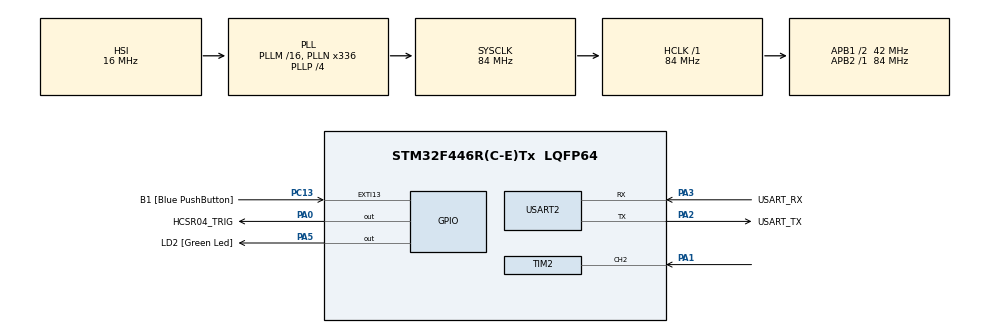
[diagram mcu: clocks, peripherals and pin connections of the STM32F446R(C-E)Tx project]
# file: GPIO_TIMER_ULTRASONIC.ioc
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Mcu.Family=STM32F4
Mcu.Name=STM32F446R(C-E)Tx
Mcu.Package=LQFP64
NVIC.PriorityGroup=NVIC_PRIORITYGROUP_0
NVIC.TIM2_IRQn=true\:0\:0\:false\:false\:true\:true\:true\:true
NVIC.USART2_IRQn=true\:0\:0\:false\:false\:true\:true\:true\:true
PA0-WKUP.GPIO_Label=HCSR04_TRIG
PA0-WKUP.GPIO_Speed=GPIO_SPEED_FREQ_VERY_HIGH
PA0-WKUP.Signal=GPIO_Output
PA1.Signal=S_TIM2_CH2
PA13.GPIO_Label=TMS
PA13.Mode=Serial_Wire
PA13.Signal=SYS_JTMS-SWDIO
PA14.GPIO_Label=TCK
PA14.Mode=Serial_Wire
PA14.Signal=SYS_JTCK-SWCLK
PA2.GPIO_Label=USART_TX
PA2.Mode=Asynchronous
PA2.Signal=USART2_TX
PA3.GPIO_Label=USART_RX
PA3.Mode=Asynchronous
PA3.Signal=USART2_RX
PA5.GPIO_Label=LD2 [Green Led]
PA5.Signal=GPIO_Output
PB3.GPIO_Label=SWO
PB3.Signal=SYS_JTDO-SWO
PC13.GPIO_Label=B1 [Blue PushButton]
PC13.GPIO_ModeDefaultEXTI=GPIO_MODE_IT_FALLING
PC13.Signal=GPXTI13
PC14-OSC32_IN.Mode=LSE-External-Oscillator
PC14-OSC32_IN.Signal=RCC_OSC32_IN
PC15-OSC32_OUT.Mode=LSE-External-Oscillator
PC15-OSC32_OUT.Signal=RCC_OSC32_OUT
PH0-OSC_IN.Mode=HSE-External-Oscillator
PH0-OSC_IN.Signal=RCC_OSC_IN
PH1-OSC_OUT.Mode=HSE-External-Oscillator
PH1-OSC_OUT.Signal=RCC_OSC_OUT
ProjectManager.HeapSize=0x200
ProjectManager.StackSize=0x400
ProjectManager.TargetToolchain=STM32CubeIDE
RCC.48MHZClocksFreq_Value=84000000
RCC.AHBFreq_Value=84000000
RCC.APB1CLKDivider=RCC_HCLK_DIV2
RCC.APB1Freq_Value=42000000
RCC.APB1TimFreq_Value=84000000
RCC.APB2Freq_Value=84000000
RCC.APB2TimFreq_Value=84000000
RCC.CortexFreq_Value=84000000
RCC.FLatency-AdvancedSettings=FLASH_LATENCY_2
RCC.HCLKFreq_Value=84000000
RCC.HSE_VALUE=8000000
RCC.HSI_VALUE=16000000
RCC.PLLN=336
RCC.PLLP=RCC_PLLP_DIV4
RCC.SYSCLKFreq_VALUE=84000000
RCC.SYSCLKSource=RCC_SYSCLKSOURCE_PLLCLK
RCC.USBFreq_Value=168000000
RCC.VCOOutputFreq_Value=336000000
SH.S_TIM2_CH2.0=TIM2_CH2,Input_Capture2_from_TI2
TIM2.Channel-Input_Capture2_from_TI2=TIM_CHANNEL_2
TIM2.ICPolarity_CH2=TIM_INPUTCHANNELPOLARITY_BOTHEDGE
TIM2.Prescaler=83
USART2.VirtualMode=VM_ASYNC
VP_TIM2_VS_ClockSourceINT.Mode=Internal
board=NUCLEO-F446RE

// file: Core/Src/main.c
/* USER CODE BEGIN Header */
/**
  ******************************************************************************
  * @file           : main.c
  * @brief          : Main program body
  ******************************************************************************
  * @attention
  *
  * Copyright (c) 2025 STMicroelectronics.
  * All rights reserved.
  *
  * This software is licensed under terms that can be found in the LICENSE file
  * in the root directory of this software component.
  * If no LICENSE file comes with this software, it is provided AS-IS.
  *
  ******************************************************************************
  */
/* USER CODE END Header */
#include "main.h"
#include <stdio.h>

TIM_HandleTypeDef htim2;

UART_HandleTypeDef huart2;

/* USER CODE BEGIN PV */

volatile uint32_t IC_val1 = 0; // stores the value captured at rising edge
volatile uint32_t IC_val2 = 0; // stores the value captured at falling edge
volatile uint32_t Difference = 0; // stores the value captured at falling edge
volatile uint8_t Is_First_captured = 0; // flag for  checking rising and falling edge
volatile float Distance_cm = 0.0f; // calculate the distance in cm

// NEW GLOBAL FLAG: Set to 1 in ISR when a new measurement is complete
volatile uint8_t New_Measurement_Ready = 0;

/* USER CODE END PV */

void SystemClock_Config(void);
static void MX_GPIO_Init(void);
static void MX_USART2_UART_Init(void);
static void MX_TIM2_Init(void);

/* USER CODE BEGIN 0 */

int __io_putchar(int ch)
{
	// transmit the character using USART2
	HAL_UART_Transmit(&huart2, (uint8_t *)&ch, 1, HAL_MAX_DELAY);
	return ch;
}

// function to trigger the trig pinc
void HCSR04_Trigger(void)
{
	HAL_GPIO_WritePin(HCSR04_TRIG_GPIO_Port, HCSR04_TRIG_Pin, GPIO_PIN_RESET); // Use GPIO_PIN_RESET/SET for clarity
    // Wait for 2 microseconds to ensure a clean low state before the high pulse
	__HAL_TIM_SET_COUNTER(&htim2, 0);
	while(__HAL_TIM_GET_COUNTER(&htim2) < 2);

	HAL_GPIO_WritePin(HCSR04_TRIG_GPIO_Port, HCSR04_TRIG_Pin, GPIO_PIN_SET); // Use GPIO_PIN_SET for clarity
    // Wait for 10 microseconds for the trigger pulse
	__HAL_TIM_SET_COUNTER(&htim2, 0);
	while(__HAL_TIM_GET_COUNTER(&htim2) < 10);

	HAL_GPIO_WritePin(HCSR04_TRIG_GPIO_Port, HCSR04_TRIG_Pin, GPIO_PIN_RESET); // Use GPIO_PIN_RESET for clarity
}

// function to calculate the delay
void HAL_TIM_IC_CaptureCallback(TIM_HandleTypeDef *htim) // 'htim' is already a pointer
{
    // Check if the interrupt came from the correct timer instance (htim2) and channel (TIM_CHANNEL_2)
    // Use '.' for 'htim2' (the global struct) and '->' for 'htim' (the pointer parameter)
    if (htim->Instance == htim2.Instance && htim->Channel == TIM_CHANNEL_2)
    {
        if(Is_First_captured == 0) // First edge (RISING edge)
        {
            IC_val1 = HAL_TIM_ReadCapturedValue(htim, TIM_CHANNEL_2);
            // Removed printf("rising edge received\r\n");
            Is_First_captured = 1;

            __HAL_TIM_SET_COUNTER(htim, 0); // Reset timer to 0 to start counting pulse duration
        }

        else if (Is_First_captured == 1) // Second edge (FALLING edge)
        {
            IC_val2 = HAL_TIM_ReadCapturedValue(htim, TIM_CHANNEL_2);

            Difference = IC_val2;
            // Removed printf("falling  edge received\r\n");

            Distance_cm = (float)Difference * 0.0343f / 2.0f;

            Is_First_captured = 0; // Reset flag for next measurement

            // Set the flag to indicate that a new measurement is ready to be printed
            New_Measurement_Ready = 1;
        }
    }
}

/* USER CODE END 0 */

int main(void)
{

  /* MCU Configuration--------------------------------------------------------*/

  /* Reset of all peripherals, Initializes the Flash interface and the Systick. */
  HAL_Init();

  /* Configure the system clock */
  SystemClock_Config();

  /* Initialize all configured peripherals */
  MX_GPIO_Init();
  MX_USART2_UART_Init();
  MX_TIM2_Init();
  /* USER CODE BEGIN 2 */

  HAL_TIM_IC_Start_IT(&htim2, TIM_CHANNEL_2);

  /* USER CODE END 2 */

  /* Infinite loop */
  while (1)
  {
	  printf("a line check: \r\n");
	  HCSR04_Trigger(); // Trigger a new measurement
	  HAL_Delay(100);   // Give the sensor time to respond and for the ISR to run

		// Check if a new measurement is ready from the ISR
		if (New_Measurement_Ready == 1)
		{
			printf("Distance: %.1f cm\r\n", Distance_cm); // Print only when new data is available
			New_Measurement_Ready = 0; // Reset the flag after printing
		}
		else
		{
			// Optional: Print a message if no valid measurement was captured (e.g., sensor out of range)
			// printf("No valid measurement (out of range/timeout).\r\n");
		}

	  HAL_Delay(500); // Delay before next trigger

  }
}

void SystemClock_Config(void)
{
  RCC_OscInitTypeDef RCC_OscInitStruct = {0};
  RCC_ClkInitTypeDef RCC_ClkInitStruct = {0};

  /** Configure the main internal regulator output voltage
  */
  __HAL_RCC_PWR_CLK_ENABLE();
  __HAL_PWR_VOLTAGESCALING_CONFIG(PWR_REGULATOR_VOLTAGE_SCALE3);

  /** Initializes the RCC Oscillators according to the specified parameters
  * in the RCC_OscInitTypeDef structure.
  */
  RCC_OscInitStruct.OscillatorType = RCC_OSCILLATORTYPE_HSI;
  RCC_OscInitStruct.HSIState = RCC_HSI_ON;
  RCC_OscInitStruct.HSICalibrationValue = RCC_HSICALIBRATION_DEFAULT;
  RCC_OscInitStruct.PLL.PLLState = RCC_PLL_ON;
  RCC_OscInitStruct.PLL.PLLSource = RCC_PLLSOURCE_HSI;
  RCC_OscInitStruct.PLL.PLLM = 16;
  RCC_OscInitStruct.PLL.PLLN = 336;
  RCC_OscInitStruct.PLL.PLLP = RCC_PLLP_DIV4;
  RCC_OscInitStruct.PLL.PLLQ = 2;
  RCC_OscInitStruct.PLL.PLLR = 2;
  if (HAL_RCC_OscConfig(&RCC_OscInitStruct) != HAL_OK)
  {
    Error_Handler();
  }

  /** Initializes the CPU, AHB and APB buses clocks
  */
  RCC_ClkInitStruct.ClockType = RCC_CLOCKTYPE_HCLK|RCC_CLOCKTYPE_SYSCLK
                              |RCC_CLOCKTYPE_PCLK1|RCC_CLOCKTYPE_PCLK2;
  RCC_ClkInitStruct.SYSCLKSource = RCC_SYSCLKSOURCE_PLLCLK;
  RCC_ClkInitStruct.AHBCLKDivider = RCC_SYSCLK_DIV1;
  RCC_ClkInitStruct.APB1CLKDivider = RCC_HCLK_DIV2;
  RCC_ClkInitStruct.APB2CLKDivider = RCC_HCLK_DIV1;

  if (HAL_RCC_ClockConfig(&RCC_ClkInitStruct, FLASH_LATENCY_2) != HAL_OK)
  {
    Error_Handler();
  }
}

static void MX_TIM2_Init(void)
{

  TIM_ClockConfigTypeDef sClockSourceConfig = {0};
  TIM_MasterConfigTypeDef sMasterConfig = {0};
  TIM_IC_InitTypeDef sConfigIC = {0};

  htim2.Instance = TIM2;
  htim2.Init.Prescaler = 83;
  htim2.Init.CounterMode = TIM_COUNTERMODE_UP;
  htim2.Init.Period = 4294967295;
  htim2.Init.ClockDivision = TIM_CLOCKDIVISION_DIV1;
  htim2.Init.AutoReloadPreload = TIM_AUTORELOAD_PRELOAD_DISABLE;
  if (HAL_TIM_Base_Init(&htim2) != HAL_OK)
  {
    Error_Handler();
  }
  sClockSourceConfig.ClockSource = TIM_CLOCKSOURCE_INTERNAL;
  if (HAL_TIM_ConfigClockSource(&htim2, &sClockSourceConfig) != HAL_OK)
  {
    Error_Handler();
  }
  if (HAL_TIM_IC_Init(&htim2) != HAL_OK)
  {
    Error_Handler();
  }
  sMasterConfig.MasterOutputTrigger = TIM_TRGO_RESET;
  sMasterConfig.MasterSlaveMode = TIM_MASTERSLAVEMODE_DISABLE;
  if (HAL_TIMEx_MasterConfigSynchronization(&htim2, &sMasterConfig) != HAL_OK)
  {
    Error_Handler();
  }
  sConfigIC.ICPolarity = TIM_INPUTCHANNELPOLARITY_BOTHEDGE;
  sConfigIC.ICSelection = TIM_ICSELECTION_DIRECTTI;
  sConfigIC.ICPrescaler = TIM_ICPSC_DIV1;
  sConfigIC.ICFilter = 0;
  if (HAL_TIM_IC_ConfigChannel(&htim2, &sConfigIC, TIM_CHANNEL_2) != HAL_OK)
  {
    Error_Handler();
  }

}

static void MX_USART2_UART_Init(void)
{

  huart2.Instance = USART2;
  huart2.Init.BaudRate = 115200;
  huart2.Init.WordLength = UART_WORDLENGTH_8B;
  huart2.Init.StopBits = UART_STOPBITS_1;
  huart2.Init.Parity = UART_PARITY_NONE;
  huart2.Init.Mode = UART_MODE_TX_RX;
  huart2.Init.HwFlowCtl = UART_HWCONTROL_NONE;
  huart2.Init.OverSampling = UART_OVERSAMPLING_16;
  if (HAL_UART_Init(&huart2) != HAL_OK)
  {
    Error_Handler();
  }

}

static void MX_GPIO_Init(void)
{
  GPIO_InitTypeDef GPIO_InitStruct = {0};

  /* GPIO Ports Clock Enable */
  __HAL_RCC_GPIOC_CLK_ENABLE();
  __HAL_RCC_GPIOH_CLK_ENABLE();
  __HAL_RCC_GPIOA_CLK_ENABLE();
  __HAL_RCC_GPIOB_CLK_ENABLE();

  /*Configure GPIO pin Output Level */
  HAL_GPIO_WritePin(GPIOA, HCSR04_TRIG_Pin|LD2_Pin, GPIO_PIN_RESET);

  /*Configure GPIO pin : B1_Pin */
  GPIO_InitStruct.Pin = B1_Pin;
  GPIO_InitStruct.Mode = GPIO_MODE_IT_FALLING;
  GPIO_InitStruct.Pull = GPIO_NOPULL;
  HAL_GPIO_Init(B1_GPIO_Port, &GPIO_InitStruct);

  /*Configure GPIO pin : HCSR04_TRIG_Pin */
  GPIO_InitStruct.Pin = HCSR04_TRIG_Pin;
  GPIO_InitStruct.Mode = GPIO_MODE_OUTPUT_PP;
  GPIO_InitStruct.Pull = GPIO_NOPULL;
  GPIO_InitStruct.Speed = GPIO_SPEED_FREQ_VERY_HIGH;
  HAL_GPIO_Init(HCSR04_TRIG_GPIO_Port, &GPIO_InitStruct);

  /*Configure GPIO pin : LD2_Pin */
  GPIO_InitStruct.Pin = LD2_Pin;
  GPIO_InitStruct.Mode = GPIO_MODE_OUTPUT_PP;
  GPIO_InitStruct.Pull = GPIO_NOPULL;
  GPIO_InitStruct.Speed = GPIO_SPEED_FREQ_LOW;
  HAL_GPIO_Init(LD2_GPIO_Port, &GPIO_InitStruct);

}

void Error_Handler(void)
{
  __disable_irq();
  while (1)
  {
  }
}
